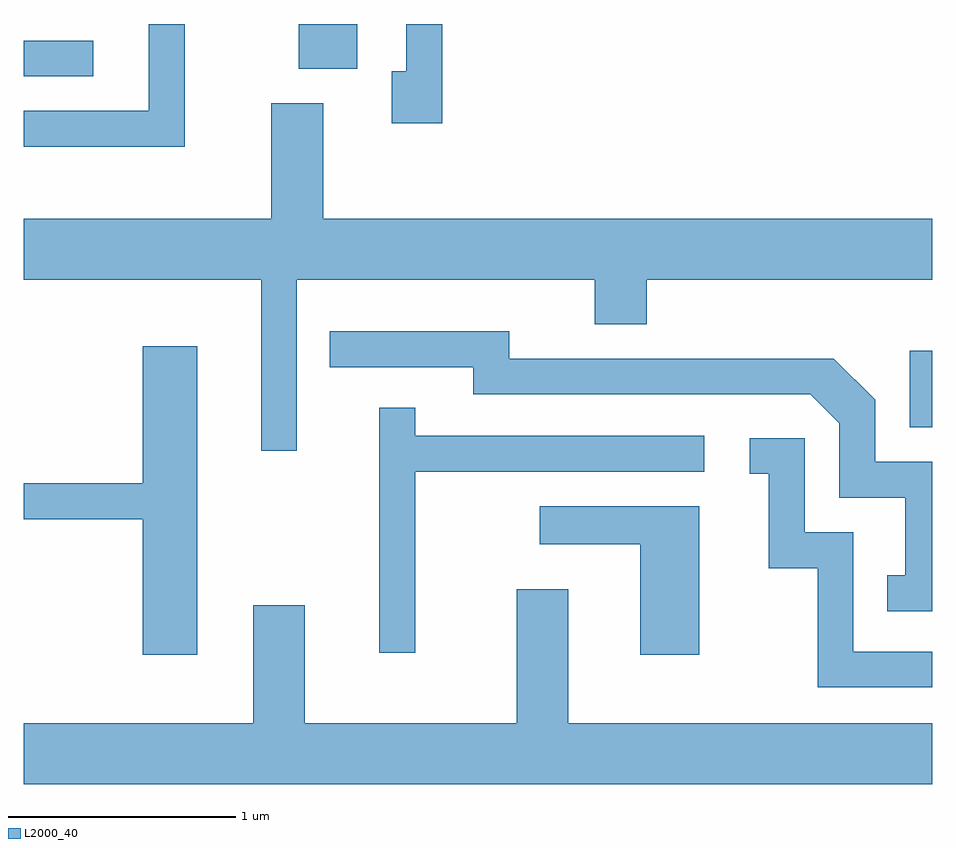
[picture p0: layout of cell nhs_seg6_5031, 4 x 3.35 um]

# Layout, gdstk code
import gdstk
lib = gdstk.Library(unit=1e-6, precision=1e-09)
def R(c, l, rs):  # rectangles x0, y0, x1, y1
    for r in rs: c.add(gdstk.rectangle(r[:2], r[2:], *l))
def P(c, l, *ps):  # polygons
    for p in ps: c.add(gdstk.Polygon(p, *l))
L2000_40 = (2000, 40)

nhs_seg6_5031 = lib.new_cell('nhs_seg6_5031')
R(nhs_seg6_5031, L2000_40, [(341.511,1660.386,341.611,1660.723), (337.611,1661.931,337.918,1662.089), (338.821,1661.966,339.079,1662.162)])
P(nhs_seg6_5031, L2000_40, [(338.319,1662.162),(338.161,1662.162),(338.161,1661.779),(337.611,1661.779),(337.611,1661.621),(338.319,1661.621)],
  [(339.454,1662.162),(339.296,1662.162),(339.296,1661.954),(339.231,1661.954),(339.231,1661.726),(339.454,1661.726)],
  [(338.814,1661.036),(340.126,1661.036),(340.126,1660.841),(340.354,1660.841),(340.354,1661.036),(341.611,1661.036),(341.611,1661.304),(338.929,1661.304),(338.929,1661.814),(338.701,1661.814),(338.701,1661.304),(337.611,1661.304),(337.611,1661.036),(338.656,1661.036),(338.656,1660.283),(338.814,1660.283)],
  [(341.611,1660.234),(341.359,1660.234),(341.359,1660.507),(341.177,1660.689),(339.749,1660.689),(339.749,1660.809),(338.958,1660.809),(338.958,1660.651),(339.591,1660.651),(339.591,1660.531),(341.074,1660.531),(341.201,1660.404),(341.201,1660.076),(341.491,1660.076),(341.491,1659.734),(341.413,1659.734),(341.413,1659.576),(341.611,1659.576)],
  [(338.374,1660.744),(338.136,1660.744),(338.136,1660.139),(337.611,1660.139),(337.611,1659.981),(338.136,1659.981),(338.136,1659.386),(338.374,1659.386)],
  [(339.334,1660.191),(340.608,1660.191),(340.608,1660.349),(339.334,1660.349),(339.334,1660.473),(339.176,1660.473),(339.176,1659.393),(339.334,1659.393)],
  [(341.611,1659.399),(341.264,1659.399),(341.264,1659.924),(341.049,1659.924),(341.049,1660.339),(340.808,1660.339),(340.808,1660.181),(340.891,1660.181),(340.891,1659.766),(341.106,1659.766),(341.106,1659.241),(341.611,1659.241)],
  [(340.584,1660.039),(339.883,1660.039),(339.883,1659.871),(340.326,1659.871),(340.326,1659.386),(340.584,1659.386)],
  [(341.611,1659.084),(340.009,1659.084),(340.009,1659.674),(339.781,1659.674),(339.781,1659.084),(338.849,1659.084),(338.849,1659.604),(338.621,1659.604),(338.621,1659.084),(337.611,1659.084),(337.611,1658.816),(341.611,1658.816)])

lib.write_gds('nhs_seg6_5031.gds')
